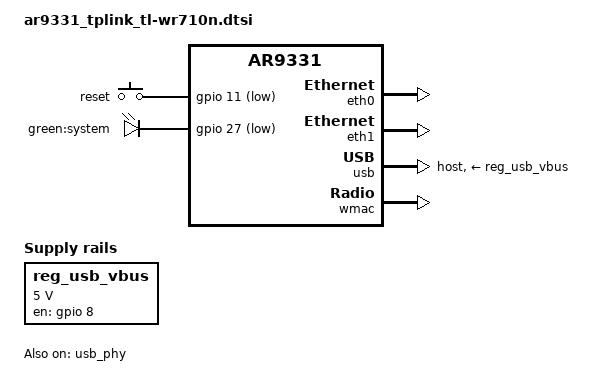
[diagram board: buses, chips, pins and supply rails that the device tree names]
// SPDX-License-Identifier: GPL-2.0-or-later OR MIT

#include "ar9331.dtsi"

#include <dt-bindings/gpio/gpio.h>
#include <dt-bindings/input/input.h>

/ {
	aliases {
		led-boot = &led_system;
		led-failsafe = &led_system;
		led-running = &led_system;
		led-upgrade = &led_system;
		label-mac-device = &eth0;
	};

	keys {
		compatible = "gpio-keys";

		reset {
			label = "reset";
			linux,code = <KEY_RESTART>;
			gpios = <&gpio 11 GPIO_ACTIVE_LOW>;
			debounce-interval = <60>;
		};
	};

	leds {
		compatible = "gpio-leds";

		led_system: system {
			label = "green:system";
			gpios = <&gpio 27 GPIO_ACTIVE_LOW>;
		};
	};

	reg_usb_vbus: regulator {
		compatible = "regulator-fixed";
		regulator-name = "usb_vbus";
		regulator-min-microvolt = <5000000>;
		regulator-max-microvolt = <5000000>;
		gpio = <&gpio 8 GPIO_ACTIVE_HIGH>;
		enable-active-high;
	};
};

&eth0 {
	status = "okay";

	nvmem-cells = <&macaddr_uboot_1fc00>;
	nvmem-cell-names = "mac-address";

	gmac-config {
		device = <&gmac>;

		switch-phy-addr-swap = <0>;
		switch-phy-swap = <0>;
	};
};

&eth1 {
	status = "okay";

	nvmem-cells = <&macaddr_uboot_1fc00>;
	nvmem-cell-names = "mac-address";
	mac-address-increment = <(-1)>;
};

&usb {
	status = "okay";

	dr_mode = "host";
	vbus-supply = <&reg_usb_vbus>;
};

&usb_phy {
	status = "okay";
};

&wmac {
	status = "okay";

	mtd-cal-data = <&art 0x1000>;
	nvmem-cells = <&macaddr_uboot_1fc00>;
	nvmem-cell-names = "mac-address";
};

&uboot {
	compatible = "nvmem-cells";
	#address-cells = <1>;
	#size-cells = <1>;

	macaddr_uboot_1fc00: macaddr@1fc00 {
		reg = <0x1fc00 0x6>;
	};
};
